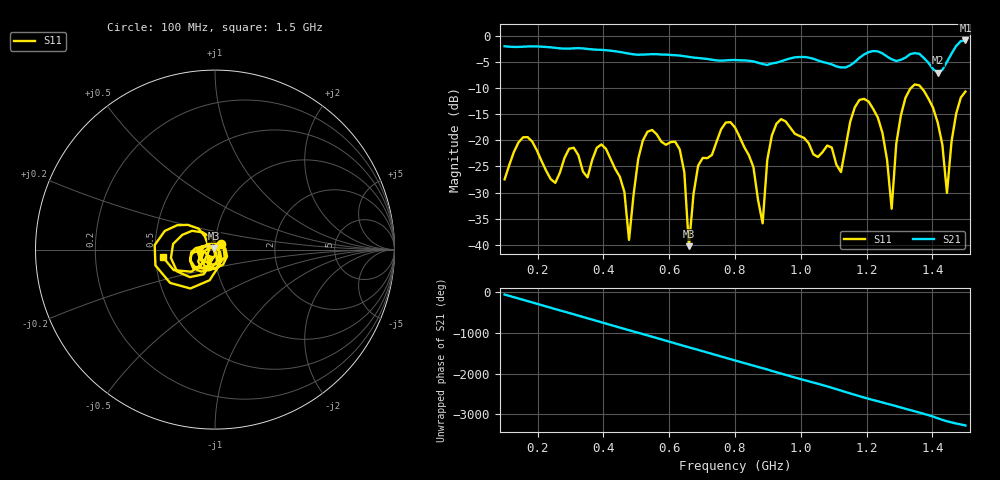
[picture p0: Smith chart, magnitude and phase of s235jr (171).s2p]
! NanoVNA-App
! Date: 2025-09-25 15:05:30
! Start: 100MHz Stop: 1,5GHz Points: 101
! S-Parameter data: F S11 S21 S12 S22
# Hz S RI R 50
!  Frequency  S11_Real  S11_Imag  S21_Real  S21_Imag  S12_Real  S12_Imag  S22_Real  S22_Imag
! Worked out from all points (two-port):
!   101 points, 100 MHz to 1.5 GHz, reference 50 ohm
!   highest |S21| = -0.84 dB at 1.5 GHz (marker M1); lowest = -7.0 dB at 1.416 GHz (marker M2)
!   |S21| within 3 dB of the highest: start of sweep to 643.8 MHz; 1.185 GHz to 1.26 GHz (74.98 MHz wide, 6.13 % of centre) (the widest 2 of 4)
!   lowest |S11| = -40.3 dB at 660 MHz (marker M3), VSWR 1.02, Z = 49.3 + j0.633 ohm
!   |S11| at or under -10 dB: start of sweep to 1.334 GHz; 1.367 GHz to end of sweep
!   S12 and S22 are empty: the file has one direction only
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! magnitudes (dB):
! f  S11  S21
! 100 MHz  -27.5  -2.0
! 156 MHz  -19.4  -2.0
! 338 MHz  -26.0  -2.4
! 408 MHz  -21.6  -2.7
! 478 MHz  -39.1  -3.4
! 520 MHz  -20.0  -3.6
! 576 MHz  -20.2  -3.5
! 632 MHz  -21.7  -3.7
! 660 MHz  -40.3  -4.0
! 688 MHz  -24.8  -4.2
! 800 MHz  -17.5  -4.6
! 884 MHz  -35.9  -5.4
! 926 MHz  -16.8  -5.1
! 1.038 GHz  -22.7  -4.3
! 1.122 GHz  -26.1  -6.0
! 1.206 GHz  -12.6  -3.1
! 1.276 GHz  -33.1  -4.4
! 1.29 GHz  -20.6  -4.8
! 1.332 GHz  -10.1  -3.5
! 1.416 GHz  -16.6  -7.0
! 1.444 GHz  -30.1  -4.9
! 1.5 GHz  -10.6  -0.8
